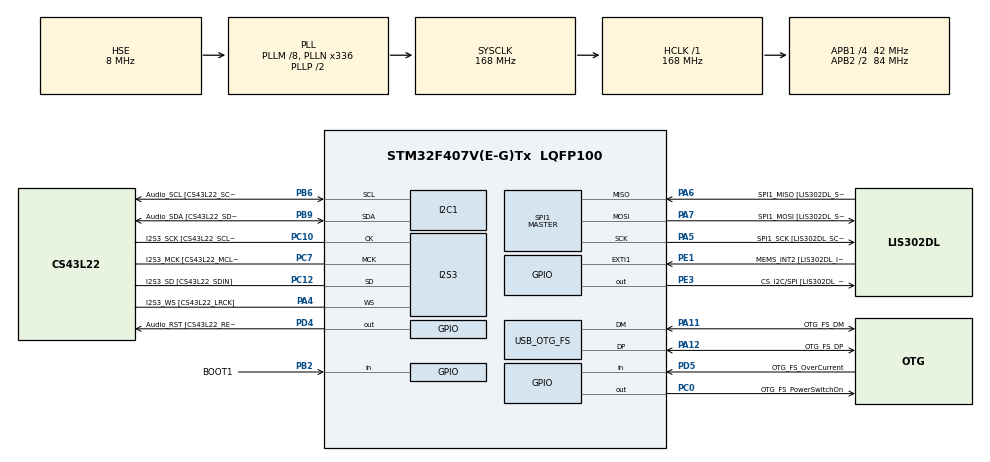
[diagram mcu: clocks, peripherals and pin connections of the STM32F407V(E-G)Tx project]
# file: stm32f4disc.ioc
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Dma.Request0=SPI3_TX
Dma.SPI3_TX.0.Direction=DMA_MEMORY_TO_PERIPH
Dma.SPI3_TX.0.FIFOMode=DMA_FIFOMODE_ENABLE
Dma.SPI3_TX.0.FIFOThreshold=DMA_FIFO_THRESHOLD_FULL
Dma.SPI3_TX.0.Instance=DMA1_Stream5
Dma.SPI3_TX.0.MemBurst=DMA_MBURST_SINGLE
Dma.SPI3_TX.0.MemDataAlignment=DMA_MDATAALIGN_HALFWORD
Dma.SPI3_TX.0.MemInc=DMA_MINC_ENABLE
Dma.SPI3_TX.0.Mode=DMA_CIRCULAR
Dma.SPI3_TX.0.PeriphBurst=DMA_PBURST_SINGLE
Dma.SPI3_TX.0.PeriphDataAlignment=DMA_PDATAALIGN_HALFWORD
Dma.SPI3_TX.0.PeriphInc=DMA_PINC_DISABLE
Dma.SPI3_TX.0.Priority=DMA_PRIORITY_LOW
I2S3.AudioFreq=I2S_AUDIOFREQ_48K
I2S3.AudioFreq-Half_Duplex_Master=I2S_AUDIOFREQ_96K
I2S3.ErrorAudioFreq=-2.34 %
I2S3.ErrorAudioFreq-Half_Duplex_Master=0.8 %
I2S3.FullDuplexMode=I2S_FULLDUPLEXMODE_DISABLE
I2S3.Instance=SPI$Index
I2S3.RealAudioFreq=46.875 KHz
I2S3.RealAudioFreq-Half_Duplex_Master=96.774 KHz
I2S3.Standard=I2S_STANDARD_LSB
I2S3.VirtualMode=I2S_MODE_MASTER
Mcu.Family=STM32F4
Mcu.Name=STM32F407V(E-G)Tx
Mcu.Package=LQFP100
NVIC.DMA1_Stream5_IRQn=true\:0\:0\:false\:false\:true\:false\:true\:true
NVIC.OTG_FS_IRQn=true\:0\:0\:false\:false\:true\:true\:true\:true
NVIC.PriorityGroup=NVIC_PRIORITYGROUP_0
NVIC.SPI3_IRQn=true\:0\:0\:false\:false\:true\:true\:true\:true
NVIC.TIM1_TRG_COM_TIM11_IRQn=true\:0\:0\:false\:false\:true\:true\:true\:true
NVIC.TIM1_UP_TIM10_IRQn=true\:0\:0\:false\:false\:true\:true\:true\:true
PA10.GPIO_Label=OTG_FS_ID
PA10.GPIO_Mode=GPIO_MODE_AF_PP
PA10.GPIO_PuPd=GPIO_NOPULL
PA10.GPIO_Speed=GPIO_SPEED_FREQ_LOW
PA10.Signal=USB_OTG_FS_ID
PA11.GPIO_Label=OTG_FS_DM
PA11.GPIO_Mode=GPIO_MODE_AF_PP
PA11.GPIO_PuPd=GPIO_NOPULL
PA11.GPIO_Speed=GPIO_SPEED_FREQ_LOW
PA11.Mode=Device_Only
PA11.Signal=USB_OTG_FS_DM
PA12.GPIO_Label=OTG_FS_DP
PA12.GPIO_Mode=GPIO_MODE_AF_PP
PA12.GPIO_PuPd=GPIO_NOPULL
PA12.GPIO_Speed=GPIO_SPEED_FREQ_LOW
PA12.Mode=Device_Only
PA12.Signal=USB_OTG_FS_DP
PA13.GPIO_Label=SWDIO
PA13.Mode=Serial_Wire
PA13.Signal=SYS_JTMS-SWDIO
PA14.GPIO_Label=SWCLK
PA14.Mode=Serial_Wire
PA14.Signal=SYS_JTCK-SWCLK
PA4.GPIO_Label=I2S3_WS [CS43L22_LRCK]
PA4.GPIO_Mode=GPIO_MODE_AF_PP
PA4.GPIO_PuPd=GPIO_NOPULL
PA4.GPIO_Speed=GPIO_SPEED_FREQ_LOW
PA4.Mode=Half_Duplex_Master
PA4.Signal=I2S3_WS
PA5.GPIO_Label=SPI1_SCK [LIS302DL_SCL/SPC]
PA5.GPIO_Mode=GPIO_MODE_AF_PP
PA5.GPIO_PuPd=GPIO_NOPULL
PA5.GPIO_Speed=GPIO_SPEED_FREQ_LOW
PA5.Mode=Full_Duplex_Master
PA5.Signal=SPI1_SCK
PA6.GPIO_Label=SPI1_MISO [LIS302DL_SDO]
PA6.GPIO_Mode=GPIO_MODE_AF_PP
PA6.GPIO_PuPd=GPIO_NOPULL
PA6.GPIO_Speed=GPIO_SPEED_FREQ_LOW
PA6.Mode=Full_Duplex_Master
PA6.Signal=SPI1_MISO
PA7.GPIO_Label=SPI1_MOSI [LIS302DL_SDA/SDI/SDO]
PA7.GPIO_Mode=GPIO_MODE_AF_PP
PA7.GPIO_PuPd=GPIO_NOPULL
PA7.GPIO_Speed=GPIO_SPEED_FREQ_LOW
PA7.Mode=Full_Duplex_Master
PA7.Signal=SPI1_MOSI
PA9.GPIO_Label=VBUS_FS
PA9.GPIO_Mode=GPIO_MODE_INPUT
PA9.GPIO_PuPd=GPIO_NOPULL
PA9.Signal=USB_OTG_FS_VBUS
PB10.GPIO_Label=CLK_IN [MP45DT02_CLK]
PB10.GPIO_Mode=GPIO_MODE_AF_PP
PB10.GPIO_PuPd=GPIO_NOPULL
PB10.GPIO_Speed=GPIO_SPEED_FREQ_LOW
PB10.Signal=I2S2_CK
PB2.GPIO_Label=BOOT1
PB2.GPIO_Mode=GPIO_MODE_INPUT
PB2.GPIO_PuPd=GPIO_NOPULL
PB2.Signal=GPIO_Input
PB3.GPIO_Label=SWO
PB3.Signal=SYS_JTDO-SWO
PB6.GPIO_Label=Audio_SCL [CS43L22_SCL]
PB6.GPIO_Mode=GPIO_MODE_AF_OD
PB6.GPIO_Pu=GPIO_PULLUP
PB6.GPIO_PuPd=GPIO_NOPULL
PB6.GPIO_Speed=GPIO_SPEED_FREQ_LOW
PB6.Mode=I2C
PB6.Signal=I2C1_SCL
PB9.GPIO_Label=Audio_SDA [CS43L22_SDA]
PB9.GPIO_Mode=GPIO_MODE_AF_OD
PB9.GPIO_Pu=GPIO_PULLUP
PB9.GPIO_PuPd=GPIO_NOPULL
PB9.GPIO_Speed=GPIO_SPEED_FREQ_LOW
PB9.Mode=I2C
PB9.Signal=I2C1_SDA
PC0.GPIO_Label=OTG_FS_PowerSwitchOn
PC0.GPIO_PuPd=GPIO_NOPULL
PC0.GPIO_Speed=GPIO_SPEED_FREQ_LOW
PC0.PinState=GPIO_PIN_SET
PC0.Signal=GPIO_Output
PC10.GPIO_Label=I2S3_SCK [CS43L22_SCLK]
PC10.GPIO_Mode=GPIO_MODE_AF_PP
PC10.GPIO_PuPd=GPIO_NOPULL
PC10.GPIO_Speed=GPIO_SPEED_FREQ_LOW
PC10.Mode=Half_Duplex_Master
PC10.Signal=I2S3_CK
PC12.GPIO_Label=I2S3_SD [CS43L22_SDIN]
PC12.GPIO_Mode=GPIO_MODE_AF_PP
PC12.GPIO_PuPd=GPIO_NOPULL
PC12.GPIO_Speed=GPIO_SPEED_FREQ_LOW
PC12.Mode=Half_Duplex_Master
PC12.Signal=I2S3_SD
PC14-OSC32_IN.GPIO_Label=PC14-OSC32_IN
PC14-OSC32_IN.Mode=LSE-External-Oscillator
PC14-OSC32_IN.Signal=RCC_OSC32_IN
PC15-OSC32_OUT.GPIO_Label=PC15-OSC32_OUT
PC15-OSC32_OUT.Mode=LSE-External-Oscillator
PC15-OSC32_OUT.Signal=RCC_OSC32_OUT
PC3.GPIO_Label=PDM_OUT [MP45DT02_DOUT]
PC3.GPIO_Mode=GPIO_MODE_AF_PP
PC3.GPIO_PuPd=GPIO_NOPULL
PC3.GPIO_Speed=GPIO_SPEED_FREQ_LOW
PC3.Signal=I2S2_SD
PC7.GPIO_Label=I2S3_MCK [CS43L22_MCLK]
PC7.GPIO_Mode=GPIO_MODE_AF_PP
PC7.GPIO_PuPd=GPIO_NOPULL
PC7.GPIO_Speed=GPIO_SPEED_FREQ_LOW
PC7.Mode=Master_Clock_Activated
PC7.Signal=I2S3_MCK
PD4.GPIO_Label=Audio_RST [CS43L22_RESET]
PD4.GPIO_PuPd=GPIO_NOPULL
PD4.GPIO_Speed=GPIO_SPEED_FREQ_LOW
PD4.Signal=GPIO_Output
PD5.GPIO_Label=OTG_FS_OverCurrent
PD5.GPIO_Mode=GPIO_MODE_INPUT
PD5.GPIO_PuPd=GPIO_NOPULL
PD5.Signal=GPIO_Input
PE1.GPIO_Label=MEMS_INT2 [LIS302DL_INT2]
PE1.GPIO_ModeDefaultEXTI=GPIO_MODE_EVT_RISING
PE1.GPIO_PuPd=GPIO_NOPULL
PE1.Signal=GPXTI1
PE3.GPIO_Label=CS_I2C/SPI [LIS302DL_CS_I2C/SPI]
PE3.GPIO_PuPd=GPIO_NOPULL
PE3.GPIO_Speed=GPIO_SPEED_FREQ_LOW
PE3.Signal=GPIO_Output
PH0-OSC_IN.GPIO_Label=PH0-OSC_IN
PH0-OSC_IN.Mode=HSE-External-Oscillator
PH0-OSC_IN.Signal=RCC_OSC_IN
PH1-OSC_OUT.GPIO_Label=PH1-OSC_OUT
PH1-OSC_OUT.Mode=HSE-External-Oscillator
PH1-OSC_OUT.Signal=RCC_OSC_OUT
ProjectManager.HeapSize=0x600
ProjectManager.StackSize=0x400
ProjectManager.TargetToolchain=STM32CubeIDE
RCC.48MHZClocksFreq_Value=48000000
RCC.AHBFreq_Value=168000000
RCC.APB1CLKDivider=RCC_HCLK_DIV4
RCC.APB1Freq_Value=42000000
RCC.APB1TimFreq_Value=84000000
RCC.APB2CLKDivider=RCC_HCLK_DIV2
RCC.APB2Freq_Value=84000000
RCC.APB2TimFreq_Value=168000000
RCC.CortexFreq_Value=168000000
RCC.HCLKFreq_Value=168000000
RCC.HSE_VALUE=8000000
RCC.HSI_VALUE=16000000
RCC.PLLM=8
RCC.PLLN=336
RCC.PLLQ=7
RCC.SYSCLKFreq_VALUE=168000000
RCC.SYSCLKSource=RCC_SYSCLKSOURCE_PLLCLK
RCC.VCOOutputFreq_Value=336000000
SPI1.BaudRatePrescaler-Full_Duplex_Master=SPI_BAUDRATEPRESCALER_2
SPI1.CalculateBaudRate-Full_Duplex_Master=42.0 MBits/s
SPI1.Direction=SPI_DIRECTION_2LINES
SPI1.Mode=SPI_MODE_MASTER
SPI1.Mode-Full_Duplex_Master=SPI_MODE_MASTER
SPI1.VirtualType=VM_MASTER
TIM10.Period=10000
TIM10.Prescaler=16800
TIM11.Period=100
TIM11.Prescaler=16800
USB_DEVICE.CLASS_NAME_FS=CDC
USB_DEVICE.VirtualMode-CDC_FS=Cdc
USB_DEVICE.VirtualModeFS=Cdc_FS
USB_OTG_FS.VirtualMode=Device_Only
VP_TIM10_VS_ClockSourceINT.Mode=Enable_Timer
VP_TIM11_VS_ClockSourceINT.Mode=Enable_Timer
VP_USB_DEVICE_VS_USB_DEVICE_CDC_FS.Mode=CDC_FS
board=STM32F407G-DISC1

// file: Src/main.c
/* USER CODE BEGIN Header */
/**
******************************************************************************
* @file           : main.c
* @brief          : Main program body
******************************************************************************
* @attention
*
* Copyright (c) 2025 STMicroelectronics.
* All rights reserved.
*
* This software is licensed under terms that can be found in the LICENSE file
* in the root directory of this software component.
* If no LICENSE file comes with this software, it is provided AS-IS.
*
******************************************************************************
*/
/* USER CODE END Header */
#include "main.h"
#include "dma.h"
#include "i2c.h"
#include "i2s.h"
#include "spi.h"
#include "usb_device.h"
#include "usbd_cdc_if.h"
#include "gpio.h"
#include "tim.h"

/* USER CODE BEGIN Includes */
#include "usbd_cdc_if.h"
#include "cs43l22.h"
#include "math.h"

#include "stm32f4_discovery.h"
#include "stm32f4_discovery_accelerometer.h"
/* USER CODE END Includes */

/* USER CODE BEGIN PTD */
// LED roles
#define LED_BLINK LED3
#define LED_ACC_X LED4
#define LED_ACC_Y LED5
#define LED_ACC_Z LED6
/* USER CODE END PTD */

/* USER CODE BEGIN PD */
#define LINE_BUFFER_SIZE 256

// macros to define the sine signal
#define FAST_SIN_FREQ 1000
#define MEDIUM_SIN_FREQ 750
#define SLOW_SIN_FREQ 500

#define SAMPLING_RATE 48000
#define AUDIO_BUFFER_LENGTH SAMPLING_RATE / SLOW_SIN_FREQ

/* USER CODE END PD */

/* USER CODE BEGIN PV */

const uint8_t ISR_FLAG_RX    = 0x01;  // Received data
const uint8_t ISR_FLAG_TIM10 = 0x02;  // Timer 10 Period elapsed
const uint8_t ISR_FLAG_TIM11 = 0x04;  // Timer 11 Period elapsed

// This is the only variable that we will modify both in the ISR and in the main loop
// It has to be declared volatile to prevent the compiler from optimizing it out.
volatile uint8_t isr_flags = 0;

//---Commands---//

/*Commands that we will receive from the PC
The Board will be in sleep mode as much as possible, to reduce power consumption.
Additionally, the board can be sent to stop or standby mode by using a command from the PC.*/

const uint8_t COMMAND_STOP[] = "stop"; // Put Board in stop mode_To wake up from stop mode, the user can press the user button on the Board.
const uint8_t COMMAND_STAND_BY[] = "standby"; // Put Board in standby mode_To wake up from standby mode, the user can press the reset button on the Board.

const uint8_t COMMAND_CHANGE_FREQ[] = "changefreq"; // Set the PWM frequency to the next possible value_The freq can have 3 values "fast, medium, slow"
const uint8_t COMMAND_CHANGE_DUT[] = "changedut"; // Set the PWM duty cycle to the next possible value_The duty cycle can have 3 values, "75%, 50%, 25%"
const uint8_t COMMAND_PWM_MAN[] = "pwmman"; // Set PWM frequency with user button_press user button for a given amount of time, that will become the new freq

const uint8_t COMMAND_LED_PWM[] = "ledpwm"; // Set the LED BLINK to PWM mode_The LED BLINK changes according to the PWM signal generated internally
const uint8_t COMMAND_LED_MAN[] = "ledman"; // Set the LED BLINK to manual mode_In manual mode the LED BLINK can be turned ON and OFF with commands from the PC,and toggled with the user button
const uint8_t COMMAND_LED_ON[] = "ledon"; // Turn ON the LED BLINK
const uint8_t COMMAND_LED_OFF[] = "ledoff"; // Turn OFF the LED BLINK

//The remaining 3 LEDs will be used to indicate the readings from the accelerometer
//The accelerometer will be read every 10ms. Another timer configured to generate interrupts should be used
const uint8_t COMMAND_ACC_ON[] = "accon"; // Enable accelerometer readings_If the accelerometer is enabled, after each reading one of the 3 LED ACCELEROMETERS is
                                          //turned ON, and the rest are turned OFF, according to which direction (X, Y, Z) as the highest accelerometer value, in absolute value.
const uint8_t COMMAND_ACC_OFF[] = "accoff"; // Disable accelerometer readings_If the accelerometer is disabled, the timer should be stopped and all LEDs turned OFF.

const uint8_t COMMAND_MUTE[] = "mute"; // Mute audible signal
const uint8_t COMMAND_UNMUTE[] = "unmute"; // Un-mute audible signal

// Buffer for command
static uint8_t line_ready_buffer[LINE_BUFFER_SIZE]; // Stable buffer for main
// Audio buffer
int16_t buffer_audio[2 * AUDIO_BUFFER_LENGTH];

// ---------- LED BLINK PWM state ----------
// 3 possible PWM frequencies (slow/medium/fast) expressed as total TIM10 ticks
// TIM10: PSC = 16800, so timer runs at 10 kHz -> 1 tick = 0.1 ms
// total_ticks * 0.1 ms = period
#define PWM_NUM_FREQ 3
#define PWM_NUM_DUTY 3

typedef enum {
  PWM_FREQ_SLOW = 0,   // 1.0 s period  (10000 * 0.1 ms)
  PWM_FREQ_MEDIUM,     // 0.5 s period  ( 5000 * 0.1 ms)
  PWM_FREQ_FAST        // 0.2 s period  ( 2000 * 0.1 ms)
} pwm_freq_t;

typedef enum {
  PWM_DUTY_25 = 0,     // 25 %
  PWM_DUTY_50,         // 50 %
  PWM_DUTY_75          // 75 %
} pwm_duty_t;

// Total ticks per PWM period for each speed
static const uint32_t pwm_total_ticks[PWM_NUM_FREQ]   = {10000, 5000, 2000};
// Duty cycles in percent
static const uint8_t  pwm_duty_percent[PWM_NUM_DUTY]  = {25, 50, 75};

// Current configuration
static volatile pwm_freq_t current_pwm_freq  = PWM_FREQ_SLOW;
static volatile pwm_duty_t current_pwm_duty  = PWM_DUTY_50;

// Are we in PWM mode or manual mode?
static volatile uint8_t led_pwm_mode = 1;   // 1 = PWM mode, 0 = manual
static volatile uint8_t led_manual_state = 0; // 0 = off, 1 = on

// Internal counters derived from freq + duty
static uint32_t pwm_on_ticks  = 0;
static uint32_t pwm_off_ticks = 0;
static uint8_t  pwm_led_is_on = 0;

// --------- pwmman / button timing state ---------
// after the user sends "pwmman" command
static volatile uint8_t pwmman_armed = 0;
// while we are currently timing a press
static volatile uint8_t pwmman_measuring = 0;
// when a measurement just finished (main loop will handle it)
static volatile uint8_t pwmman_done = 0;
// counts how many 10 ms ticks the button has been held
static volatile uint32_t button_ticks_10ms = 0;
// last measured duration in ms (for printing / mapping in main)
static volatile uint32_t pwmman_last_duration_ms = 0;

// --------- Accelerometer state ---------
static volatile uint8_t accel_enabled = 0;  // 1 when accon, 0 when accoff
// Last read accelerometer values (mg)
static int16_t accel_xyz[3] = {0, 0, 0};
// To avoid spamming USB: print every N samples (e.g. every 100 ms)
static uint8_t accel_print_div = 0;   // counts TIM11 ticks

static uint32_t SineFreq = PWM_FREQ_SLOW;

/* USER CODE END PV */

void SystemClock_Config(void);
/* USER CODE BEGIN PFP */

// Interrupt handlers
void handle_new_line();
void handle_timer10(void);
void handle_timer11(void);

// Helper functions
void init_codec_and_play();
static void build_sine_buffer(uint32_t freq_hz);
static void pwm_update_intervals(void);
static void pwm_apply_settings(void);
static void usb_wait_for_tx_idle(void);

// Commands
void go_to_stop();
void go_to_standby();
void change_freq(void);
void change_duty(void);
void cmd_led_pwm(void);
void cmd_led_man(void);
void cmd_led_on(void);
void cmd_led_off(void);
void cmd_acc_on(void);
void cmd_acc_off(void);
void cmd_mute(void);
void cmd_unmute(void);
void cmd_pwmman(void);

/* USER CODE END PFP */

/* USER CODE BEGIN 0 */
extern USBD_HandleTypeDef hUsbDeviceFS;
/* USER CODE END 0 */

int main(void)
{

  /* MCU Configuration--------------------------------------------------------*/

  /* Reset of all peripherals, Initializes the Flash interface and the Systick. */
  HAL_Init();

  /* Configure the system clock */
  SystemClock_Config();

  /* Initialize all configured peripherals */
  MX_GPIO_Init();
  MX_DMA_Init();
  MX_I2C1_Init();
  MX_I2S3_Init();
  MX_SPI1_Init();
  MX_USB_DEVICE_Init();

  /* USER CODE BEGIN 2 */

  //Initializing user LEDs via BSP
  BSP_LED_Init(LED_BLINK);
  BSP_LED_Init(LED_ACC_X);
  BSP_LED_Init(LED_ACC_Y);
  BSP_LED_Init(LED_ACC_Z);

  //Initializing user button
  BSP_PB_Init(BUTTON_KEY, BUTTON_MODE_EXTI);

  //Initializing timers
  MX_TIM10_Init();
  MX_TIM11_Init();

  // Start with PWM mode active
  led_pwm_mode = 1;
  current_pwm_freq = PWM_FREQ_SLOW;
  current_pwm_duty = PWM_DUTY_50;

  // Start TIM10 in interrupt mode → drives handle_timer10()
  HAL_TIM_Base_Start_IT(&htim10);
  pwm_apply_settings();

  // Initialize accelerometer once at startup
  if (BSP_ACCELERO_Init() != ACCELERO_OK)
  {
     CDC_Transmit_FS((uint8_t*)"Accel init error\r\n", strlen("Accel init error\r\n"));
  }

  // Start with accelerometer disabled; user will enable with "accon"
  accel_enabled = 0;

  // Initialize audio codec and start playback of a sine wave
  init_codec_and_play();

  /* USER CODE END 2 */

  /* Infinite loop */
  /* USER CODE BEGIN WHILE */
  while (1)
  {
    // We check if that there are NO interrupts pending before going into sleep
    if (isr_flags == 0)
    {
      // Go to sleep, waiting for interrupt (WFI).
      HAL_PWR_EnterSLEEPMode(PWR_MAINREGULATOR_ON,PWR_SLEEPENTRY_WFI);
    }

    // Handle timer 10 (PWM / blink LED)
    if (isr_flags & ISR_FLAG_TIM10)
    {
      isr_flags &= ~ISR_FLAG_TIM10;
      handle_timer10();
    }

    // Handle timer 11 (10 ms tick – accel/button later)
    if (isr_flags & ISR_FLAG_TIM11)
    {
      isr_flags &= ~ISR_FLAG_TIM11;
      handle_timer11();
    }

    // This is needed for the UART transmission
    if (isr_flags & ISR_FLAG_RX)
    {
      isr_flags &= ~ISR_FLAG_RX;
      handle_new_line();
    }

    if (pwmman_done)
    {
    pwmman_done  = 0;    //The flag that indicates that the calculation of the pwm manually is done
    pwmman_armed = 0;   // done with this pwmman round

    uint32_t duration_ms = pwmman_last_duration_ms;

    // Map duration -> PWM frequency
    pwm_freq_t new_freq;
    if (duration_ms < 400)
    {
      new_freq = PWM_FREQ_FAST;
      SineFreq = FAST_SIN_FREQ;
      CDC_Transmit_FS((uint8_t*)"pwmman: FAST freq\r\n", 19);
    }
    else if (duration_ms < 1000)
    {
      new_freq = PWM_FREQ_MEDIUM;
      SineFreq = MEDIUM_SIN_FREQ;
      CDC_Transmit_FS((uint8_t*)"pwmman: MEDIUM freq\r\n", 21);
    }
    else
    {
      new_freq = PWM_FREQ_SLOW;
      SineFreq = SLOW_SIN_FREQ;
      CDC_Transmit_FS((uint8_t*)"pwmman: SLOW freq\r\n", 19);
    }

    current_pwm_freq = new_freq;
    pwm_apply_settings();  // recompute ON/OFF ticks, restart PWM
    build_sine_buffer(SineFreq);
    }

    /* USER CODE END WHILE */

  }
}

void SystemClock_Config(void)
{
  RCC_OscInitTypeDef RCC_OscInitStruct = {0};
  RCC_ClkInitTypeDef RCC_ClkInitStruct = {0};

  /** Configure the main internal regulator output voltage
  */
  __HAL_RCC_PWR_CLK_ENABLE();
  __HAL_PWR_VOLTAGESCALING_CONFIG(PWR_REGULATOR_VOLTAGE_SCALE1);

  /** Initializes the RCC Oscillators according to the specified parameters
  * in the RCC_OscInitTypeDef structure.
  */
  RCC_OscInitStruct.OscillatorType = RCC_OSCILLATORTYPE_HSE;
  RCC_OscInitStruct.HSEState = RCC_HSE_ON;
  RCC_OscInitStruct.PLL.PLLState = RCC_PLL_ON;
  RCC_OscInitStruct.PLL.PLLSource = RCC_PLLSOURCE_HSE;
  RCC_OscInitStruct.PLL.PLLM = 8;
  RCC_OscInitStruct.PLL.PLLN = 336;
  RCC_OscInitStruct.PLL.PLLP = RCC_PLLP_DIV2;
  RCC_OscInitStruct.PLL.PLLQ = 7;
  if (HAL_RCC_OscConfig(&RCC_OscInitStruct) != HAL_OK)
  {
    Error_Handler();
  }

  /** Initializes the CPU, AHB and APB buses clocks
  */
  RCC_ClkInitStruct.ClockType = RCC_CLOCKTYPE_HCLK|RCC_CLOCKTYPE_SYSCLK
                              |RCC_CLOCKTYPE_PCLK1|RCC_CLOCKTYPE_PCLK2;
  RCC_ClkInitStruct.SYSCLKSource = RCC_SYSCLKSOURCE_PLLCLK;
  RCC_ClkInitStruct.AHBCLKDivider = RCC_SYSCLK_DIV1;
  RCC_ClkInitStruct.APB1CLKDivider = RCC_HCLK_DIV4;
  RCC_ClkInitStruct.APB2CLKDivider = RCC_HCLK_DIV2;

  if (HAL_RCC_ClockConfig(&RCC_ClkInitStruct, FLASH_LATENCY_5) != HAL_OK)
  {
    Error_Handler();
  }
}

/* USER CODE BEGIN 4 */

//------------------------------------------------callback functions------------------------------------------------
// All of this is used to manage commands from serial interface
static uint8_t line_buffer[LINE_BUFFER_SIZE];
static uint32_t line_len = 0;

void CDC_ReceiveCallBack(uint8_t *buf, uint32_t len)
{
  // Prevent overflow, does not handle the command
  if (line_len + len >= LINE_BUFFER_SIZE)
  {
    line_len = 0;
    return;
  }

  // Append received chunk
  memcpy(&line_buffer[line_len], buf, len);
  line_len += len;

  // Process all complete lines
  while (1)
  {
    // Look for '\n' or '\r' inside line_buffer
    uint8_t *line_feed = memchr(line_buffer, '\n', line_len);
    if (line_feed == NULL){
      line_feed = memchr(line_buffer, '\r', line_len);
      if (line_feed == NULL)
      break;
    }

    // Replace \n or \r by terminator
    *line_feed = '\0';

    // Remove optional '\r' in case input was \r\n
    if (line_feed > line_buffer && *(line_feed - 1) == '\r')
    *(line_feed - 1) = '\0';

    uint32_t processed = (line_feed + 1) - line_buffer;

    // Signal the main that there is a new line ready to be checked
    memcpy(line_ready_buffer, line_buffer, processed);
    isr_flags |= ISR_FLAG_RX;

    // Move leftover bytes to start
    line_len -= processed;
    memmove(line_buffer, line_buffer + processed, line_len);
  }
}

//The callback function to handel the interrupt from the timers
void HAL_TIM_PeriodElapsedCallback(TIM_HandleTypeDef *htim)
{
  if (htim->Instance == TIM10)
  {
    // Timer 10 expired: set flag so main loop can handle it
    isr_flags |= ISR_FLAG_TIM10;
  }
  else if (htim->Instance == TIM11)
  {
    // Timer 11 expired: 10 ms tick
    isr_flags |= ISR_FLAG_TIM11;
  }
}

/*
void HAL_GPIO_EXTI_Callback(uint16_t GPIO_Pin)
{
  if (GPIO_Pin == KEY_BUTTON_PIN)
  {
    // Check if button is actually pressed (line high)
    GPIO_PinState state = HAL_GPIO_ReadPin(KEY_BUTTON_GPIO_PORT, KEY_BUTTON_PIN);

    // We only care about the NEW press, and only if pwmman was armed
    if (state == GPIO_PIN_SET && pwmman_armed && !pwmman_measuring)
    {
      pwmman_measuring  = 1; //a flag to indicate that the timer started measuring the press time
      button_ticks_10ms = 0; //a flag to add 10msec with each expiration of the timer11

      // Start TIM11 as 10 ms tick, but DO NOT print here
      __HAL_TIM_SET_COUNTER(&htim11, 0);
      HAL_TIM_Base_Start_IT(&htim11);
    }
    else if (!led_pwm_mode)
    {
      // Toggle logical state
      led_manual_state = !led_manual_state;

      // Apply to the actual LED
      if (led_manual_state)
      {
        BSP_LED_On(LED_BLINK);
      }
      else
      {
        BSP_LED_Off(LED_BLINK);
      }
    }

    // We don't handle release here, we detect it in handle_timer11()
  }
}
*/

void HAL_GPIO_EXTI_Callback(uint16_t GPIO_Pin)
{
  if (GPIO_Pin == KEY_BUTTON_PIN)
  {
    GPIO_PinState state = HAL_GPIO_ReadPin(KEY_BUTTON_GPIO_PORT, KEY_BUTTON_PIN);

    if (state == GPIO_PIN_SET)
    {
      // 1) First: handle pwmman (has priority)
      if (pwmman_armed && !pwmman_measuring)
      {
        pwmman_measuring  = 1;
        button_ticks_10ms = 0;

        __HAL_TIM_SET_COUNTER(&htim11, 0);
        HAL_TIM_Base_Start_IT(&htim11);
      }
      // 2) Else: manual LED toggle when in manual mode
      else if (!led_pwm_mode)
      {
        led_manual_state = !led_manual_state;

        if (led_manual_state)
          BSP_LED_On(LED_BLINK);
        else
          BSP_LED_Off(LED_BLINK);
      }
    }

    // Release (state == RESET) is ignored here; pwmman release is handled in handle_timer11()
  }
}

//------------------------------------------------handler functions------------------------------------------------
/**
* @brief  Handle possible new command
* @retval None
*/
void handle_new_line()
{
  if (memcmp(line_ready_buffer, COMMAND_STOP, sizeof(COMMAND_STOP)) == 0)
  {
    go_to_stop();
  }
  else if (memcmp(line_ready_buffer, COMMAND_STAND_BY, sizeof(COMMAND_STAND_BY)) == 0)
  {
    go_to_standby();
  }
  else if (memcmp(line_ready_buffer, COMMAND_CHANGE_FREQ, sizeof(COMMAND_CHANGE_FREQ)) == 0)
  {
    change_freq();
  }
  else if (memcmp(line_ready_buffer, COMMAND_CHANGE_DUT, sizeof(COMMAND_CHANGE_DUT)) == 0)
  {
    change_duty();
  }
  else if (memcmp(line_ready_buffer, COMMAND_PWM_MAN, sizeof(COMMAND_PWM_MAN)) == 0)
  {
    cmd_pwmman();
  }
  else if (memcmp(line_ready_buffer, COMMAND_LED_PWM, sizeof(COMMAND_LED_PWM)) == 0)
  {
    cmd_led_pwm();
  }
  else if (memcmp(line_ready_buffer, COMMAND_LED_MAN, sizeof(COMMAND_LED_MAN)) == 0)
  {
    cmd_led_man();
  }
  else if (memcmp(line_ready_buffer, COMMAND_LED_ON, sizeof(COMMAND_LED_ON)) == 0)
  {
    cmd_led_on();
  }
  else if (memcmp(line_ready_buffer, COMMAND_LED_OFF, sizeof(COMMAND_LED_OFF)) == 0)
  {
    cmd_led_off();
  }
  else if (memcmp(line_ready_buffer, COMMAND_ACC_ON, sizeof(COMMAND_ACC_ON)) == 0)
  {
    cmd_acc_on();
  }
  else if (memcmp(line_ready_buffer, COMMAND_ACC_OFF, sizeof(COMMAND_ACC_OFF)) == 0)
  {
    cmd_acc_off();
  }
  else if (memcmp(line_ready_buffer, COMMAND_MUTE, sizeof(COMMAND_MUTE)) == 0)
  {
    cmd_mute();
  }
  else if (memcmp(line_ready_buffer, COMMAND_UNMUTE, sizeof(COMMAND_UNMUTE)) == 0)
  {
    cmd_unmute();
  }
  else
  {
    // If we receive an unknown command, we send an error message back to the PC
    CDC_Transmit_FS((uint8_t*)"Unknown command\r\n", 17);
  }
}

void handle_timer10(void)
{
  if (led_pwm_mode)
  {
    // PWM mode: alternate ON interval and OFF interval
    if (pwm_led_is_on)
    {
      // LED currently ON -> turn it OFF and schedule OFF time
      BSP_LED_Off(LED_BLINK);
      pwm_led_is_on = 0;
      __HAL_TIM_SET_AUTORELOAD(&htim10, pwm_off_ticks);
    }
    else
    {
      // LED currently OFF -> turn it ON and schedule ON time
      BSP_LED_On(LED_BLINK);
      pwm_led_is_on = 1;
      __HAL_TIM_SET_AUTORELOAD(&htim10, pwm_on_ticks);
    }

    // Reset counter each time so the new ARR is effective from 0
    __HAL_TIM_SET_COUNTER(&htim10, 0);
  }
  else
  {
    //Do nothing
  }
}

void handle_timer11(void)
{
  // If we are timing a pwmman button press
  if (pwmman_measuring)
  {
    // Check if button is still pressed
    GPIO_PinState state = HAL_GPIO_ReadPin(KEY_BUTTON_GPIO_PORT, KEY_BUTTON_PIN);

    if (state == GPIO_PIN_SET)
    {
      // Still pressed -> add 10 ms
      button_ticks_10ms++;
    }
    else
    {
      // Released -> stop timing
      pwmman_measuring = 0;
      // Stop TIM11 only if accelerometer is NOT enabled
      if (!accel_enabled)
      {
      HAL_TIM_Base_Stop_IT(&htim11);
      }

      uint32_t duration_ms = button_ticks_10ms * 10;  // 10 ms per tick
      pwmman_last_duration_ms = duration_ms;
      pwmman_done = 1;  // main loop will finish the job
    }
  }
  // ---- Accelerometer reading ----
  if (accel_enabled)
  {
    // Read X, Y, Z into accel_xyz[]
    BSP_ACCELERO_GetXYZ(accel_xyz);

    int16_t x = accel_xyz[0];
    int16_t y = accel_xyz[1];
    int16_t z = accel_xyz[2];

    // Compute absolute values
    int32_t ax = (x >= 0) ? x : -x;
    int32_t ay = (y >= 0) ? y : -y;
    int32_t az = (z >= 0) ? z : -z;

    if (ax >= ay && ax >= az)
    {
      BSP_LED_On(LED_ACC_X);
      BSP_LED_Off(LED_ACC_Y);
      BSP_LED_Off(LED_ACC_Z);
    }
    else if (ay >= ax && ay >= az)
    {
      BSP_LED_Off(LED_ACC_X);
      BSP_LED_On(LED_ACC_Y);
      BSP_LED_Off(LED_ACC_Z);
    }
    else if (az >= ax && az >= ay)
    {
      BSP_LED_Off(LED_ACC_X);
      BSP_LED_Off(LED_ACC_Y);
      BSP_LED_On(LED_ACC_Z);
    }

    // Print every ~100 ms
    accel_print_div++;
    if (accel_print_div >= 100)
    {
      accel_print_div = 0;
      char msg[64];
      int len = snprintf(msg, sizeof(msg),
                         "ACC X=%6d Y=%6d Z=%6d\r\n",
                         (int)x, (int)y, (int)z);
      CDC_Transmit_FS((uint8_t*)msg, len);
    }
  }
}

//------------------------------------------------helper functions------------------------------------------------
static void build_sine_buffer(uint32_t freq_hz)
{
  for (int i = 0; i < AUDIO_BUFFER_LENGTH; i++)
  {
    // x[n] = A * sin(2*pi*f*n/Fs)
    float sample_f =
        10000.0f * sinf(2.0f * 3.14159265f * (float)freq_hz * (float)i / (float)SAMPLING_RATE);

    int16_t sample = (int16_t)sample_f;

    buffer_audio[2 * i]     = sample; // Left
    buffer_audio[2 * i + 1] = sample; // Right
  }
}

void init_codec_and_play()
{
  cs43l22_init();
  // sine signal
  for(int i = 0; i < AUDIO_BUFFER_LENGTH;i++)
  {
    //for sampling the sine wave at discrete instances, we use the equaltion
    //x(n)=A.sin(2.pi.f.(n/Fs)), where n = 0,1,2,...
    //AUDIO_BUFFER_LENGTH, the number of samples in one full period of sine
    buffer_audio[2 * i] = 10000 * sin(2 * 3.14 * SLOW_SIN_FREQ * i / SAMPLING_RATE);
    buffer_audio[2 * i + 1] = 10000 * sin(2 * 3.14 * SLOW_SIN_FREQ * i / SAMPLING_RATE);
  }
  cs43l22_play(buffer_audio, 2 * AUDIO_BUFFER_LENGTH);
}

// Recompute ON/OFF durations in timer ticks based on current freq & duty
static void pwm_update_intervals(void)
{
  uint32_t total = pwm_total_ticks[current_pwm_freq];  //the frequency defines the total number of ticks
  uint32_t duty  = pwm_duty_percent[current_pwm_duty]; //the duty cycle defines the number of on ticks and the off ticks

  pwm_on_ticks  = (total * duty) / 100;
  pwm_off_ticks = total - pwm_on_ticks;

  // Avoid zero-length phases (just in case)
  if (pwm_on_ticks == 0)  pwm_on_ticks  = 1;
  if (pwm_off_ticks == 0) pwm_off_ticks = 1;
}

// Apply current PWM settings to TIM10 and LED state
static void pwm_apply_settings(void)
{
  // We restart from LED OFF, and let the first interrupt turn it ON
  pwm_led_is_on = 0;
  BSP_LED_Off(LED_BLINK);

  pwm_update_intervals(); //Calculate the current on and off times

  // First interval: OFF time, so next interrupt will switch it ON
  __HAL_TIM_SET_AUTORELOAD(&htim10, pwm_off_ticks);
  __HAL_TIM_SET_COUNTER(&htim10, 0);

  // Make sure timer is running
  HAL_TIM_Base_Start_IT(&htim10);
}

static void usb_wait_for_tx_idle(void)
{
  USBD_CDC_HandleTypeDef *hcdc = (USBD_CDC_HandleTypeDef*)hUsbDeviceFS.pClassData;

  if (hcdc == NULL)
  {
    // USB not initialized or not ready; nothing to wait for
    return;
  }

  uint32_t start = HAL_GetTick();

  // Wait until TxState becomes 0, but with a small timeout to avoid getting stuck
  while (hcdc->TxState != 0)
  {
    if ((HAL_GetTick() - start) > 10) // ~10 ms timeout
    {
      break;
    }
  }
}

//----------------------------------------------------Commands----------------------------------------------------
//---Command1_stop---
//-------------------
/**
* @brief Go to stop mode
* @retval None
*/
void go_to_stop()
{
   // Turn off all user LEDs to avoid random light/noise in stop mode
  BSP_LED_Off(LED3);
  BSP_LED_Off(LED4);
  BSP_LED_Off(LED5);
  BSP_LED_Off(LED6);

  // First: mute the codec (soft ramp)
  cs43l22_mute();
  HAL_Delay(50);   // ~50 ms gives time for ramp-down --> To reduce the knocking sound

  // If you have accel_enabled / pwmman, they need to be disabled:
  accel_enabled = 0;
  pwmman_armed = 0;
  pwmman_measuring = 0;

  // To avoid noise during stop mode
  cs43l22_stop();

  // Required otherwise the audio wont work after wakeup
  HAL_I2S_DeInit(&hi2s3);

  // wait for any ongoing USB TX to finish to avoid the stuck of the terminal
  usb_wait_for_tx_idle();

  // stop timers 10 and 11
  HAL_TIM_Base_Stop_IT(&htim10);
  HAL_TIM_Base_Stop_IT(&htim11);

  // We disable the systick interrupt before going to stop (1ms tick)
  // Otherwise we would be woken up every 1ms
  HAL_SuspendTick();

  HAL_PWR_EnterSTOPMode(PWR_MAINREGULATOR_ON, PWR_SLEEPENTRY_WFI);

  // We need to reconfigure the system clock after waking up.
  // After exiting from stop mode, the system clock is reset to the default
  // which is not the same we configure in cubeMx, so we do it as done
  // during the init, by calling SystemClock_Config().
  SystemClock_Config();
  HAL_ResumeTick();

  // Required otherwise the audio wont work after wakeup
  MX_I2S3_Init();

  init_codec_and_play();
}

//---Command2_standby---
//-------------------
/**
  * @brief Go to standby mode (deepest low power)
  * @note  Waking up from standby is like a fresh reset.
  *        Use the RESET button on the board.
  */
void go_to_standby(void)
{
  // Turn off user LEDs
  BSP_LED_Off(LED3);
  BSP_LED_Off(LED4);
  BSP_LED_Off(LED5);
  BSP_LED_Off(LED6);

  // Stop audio & deinit I2S
  cs43l22_stop();
  HAL_I2S_DeInit(&hi2s3);

  // Stop timers
  HAL_TIM_Base_Stop_IT(&htim10);
  HAL_TIM_Base_Stop_IT(&htim11);

  // Suspend SysTick so it won't generate interrupts
  HAL_SuspendTick();

  // Clear Wakeup flag (good practice before entering standby)
  __HAL_PWR_CLEAR_FLAG(PWR_FLAG_WU);

  // Enter STANDBY mode
  HAL_PWR_EnterSTANDBYMode();

  // Code NEVER returns here. After reset/wakeup, the MCU starts again from main().
}

//---Command3_changefreq---
//-------------------------
void change_freq(void)
{
  // Cycle SLOW -> MEDIUM -> FAST -> SLOW
  if (current_pwm_freq == PWM_FREQ_SLOW)
  {
    current_pwm_freq = PWM_FREQ_MEDIUM;
    SineFreq = MEDIUM_SIN_FREQ;
    CDC_Transmit_FS((uint8_t*)"Freq: medium\r\n", 14);
  }
  else if (current_pwm_freq == PWM_FREQ_MEDIUM)
  {
    current_pwm_freq = PWM_FREQ_FAST;
    SineFreq = FAST_SIN_FREQ;
    CDC_Transmit_FS((uint8_t*)"Freq: fast\r\n", 12);
  }
  else
  {
    current_pwm_freq = PWM_FREQ_SLOW;
    SineFreq = SLOW_SIN_FREQ;

    CDC_Transmit_FS((uint8_t*)"Freq: slow\r\n", 12);
  }
  // Re-apply PWM settings (update ON/OFF ticks for TIM10)
  pwm_apply_settings();
  build_sine_buffer(SineFreq);
}

//---Command4_changedut---
//------------------------
void change_duty(void)
{
  // Cycle 25% -> 50% -> 75% -> 25%
  if (current_pwm_duty == PWM_DUTY_25)
  {
    current_pwm_duty = PWM_DUTY_50;
    CDC_Transmit_FS((uint8_t*)"Duty: 50%\r\n", 11);
  }
  else if (current_pwm_duty == PWM_DUTY_50)
  {
    current_pwm_duty = PWM_DUTY_75;
    CDC_Transmit_FS((uint8_t*)"Duty: 75%\r\n", 11);
  }
  else
  {
    current_pwm_duty = PWM_DUTY_25;
    CDC_Transmit_FS((uint8_t*)"Duty: 25%\r\n", 11);
  }
  pwm_apply_settings();
}

//---Command5_pwmman---
//---------------------
void cmd_pwmman(void)
{
  // Arm manual PWM measurement.
  pwmman_armed           = 1;  //a flag to indicate that we are using the manual pwm now
  pwmman_measuring       = 0;  //a flag to indicate that timer11 started measuring the press time
  pwmman_done            = 0;  //a flag to indicate that the manual pwm measurement is done
  button_ticks_10ms      = 0;  //a flag to add 10msec with each expiration of the timer11
  pwmman_last_duration_ms = 0; //a flag to indicate the duration of the pressed button at the end

  CDC_Transmit_FS((uint8_t*)"pwmman: ready. Press and hold USER button.\r\n",44);
}

//---Command6_ledpwm---
//---------------------
void cmd_led_pwm(void)
{
  led_pwm_mode = 1;          // LED follows PWM
  // Restart PWM engine so it takes control immediately
  pwm_apply_settings();

  CDC_Transmit_FS((uint8_t*)"LED mode: PWM\r\n", 15);
}

//---Command7_ledman---
//---------------------
void cmd_led_man(void)
{
  led_pwm_mode = 0;          // Manual control

  // Apply manual state to LED immediately
  if (led_manual_state)
    BSP_LED_On(LED_BLINK);
  else
    BSP_LED_Off(LED_BLINK);

  CDC_Transmit_FS((uint8_t*)"LED mode: MANUAL\r\n", 18);
}

//---Command8_ledon---
//--------------------
void cmd_led_on(void)
{
  led_manual_state = 1;
  if (!led_pwm_mode)
  {
    BSP_LED_On(LED_BLINK);
  }
  CDC_Transmit_FS((uint8_t*)"LED: ON\r\n", 9);
}

//---Command9_ledoff---
//---------------------
void cmd_led_off(void)
{
  led_manual_state = 0;
  if (!led_pwm_mode)
  {
    BSP_LED_Off(LED_BLINK);
  }
  CDC_Transmit_FS((uint8_t*)"LED: OFF\r\n", 10);
}

//---Command10_accon---
//---------------------
void cmd_acc_on(void)
{
  accel_enabled = 1;  //A flag used to enable the accelerometer
  // Making sure TIM11 is running for 10 ms ticks
  HAL_TIM_Base_Start_IT(&htim11);
  const char *msg = "Accelerometer ON\r\n";
  CDC_Transmit_FS((uint8_t*)msg, strlen(msg));
}

//---Command11_accoff---
//----------------------
void cmd_acc_off(void)
{
  accel_enabled = 0;
  // Turn off LEDs
  BSP_LED_Off(LED_ACC_X);
  BSP_LED_Off(LED_ACC_Y);
  BSP_LED_Off(LED_ACC_Z);

  // If button-based pwmman is NOT currently measuring, we can stop TIM11
  if (!pwmman_measuring)
  {
    HAL_TIM_Base_Stop_IT(&htim11);
  }
  const char *msg = "Accelerometer OFF\r\n";
  CDC_Transmit_FS((uint8_t*)msg, strlen(msg));
}

//---Command12_mute---
//--------------------
void cmd_mute(void)
{
  int status = cs43l22_mute();
  if (!status)
  {
    const char *msg = "Audio muted\r\n";
    CDC_Transmit_FS((uint8_t*)msg, strlen(msg));
  }
  else
  {
    const char *msg = "Audio mute error\r\n";
    CDC_Transmit_FS((uint8_t*)msg, strlen(msg));
  }
}

//---Command13_unmute---
//----------------------
void cmd_unmute(void)
{
  int status = cs43l22_unmute();
  if (!status)
  {
    const char *msg = "Audio unmuted\r\n";
    CDC_Transmit_FS((uint8_t*)msg, strlen(msg));
  }
  else
  {
    const char *msg = "Audio unmute error\r\n";
    CDC_Transmit_FS((uint8_t*)msg, strlen(msg));
  }
}

//----------------------------------------------------------------------------------------------------------------

/* USER CODE END 4 */

void Error_Handler(void)
{
  __disable_irq();
  while (1)
  {
  }
}
